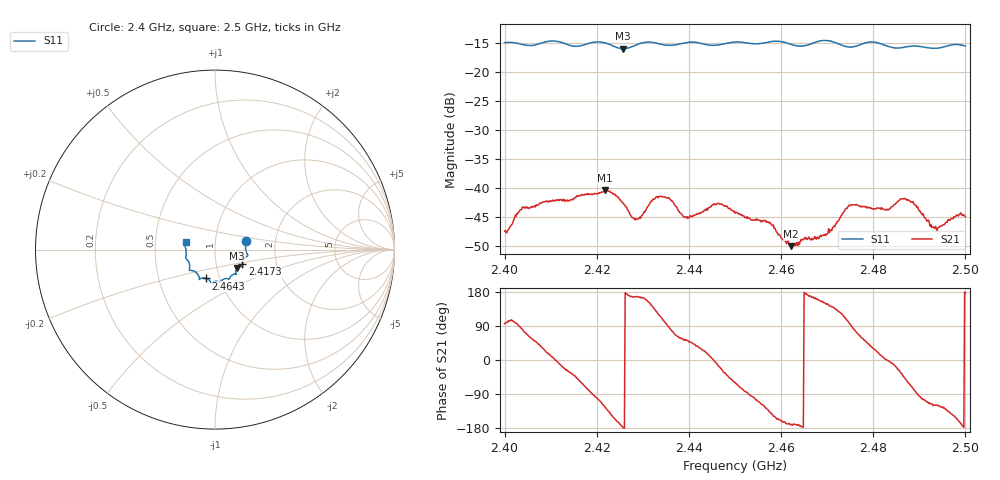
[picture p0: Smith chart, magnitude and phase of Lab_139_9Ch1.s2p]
# Hz S RI R 50
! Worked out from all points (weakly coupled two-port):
!   601 points, 2.4 GHz to 2.5 GHz, reference 50 ohm
!   highest |S21| = -40.41 dB at 2.4218 GHz (marker M1); lowest = -50.0 dB at 2.4622 GHz (marker M2)
!   lowest |S11| = -15.9 dB at 2.4257 GHz (marker M3), VSWR 1.38, Z = 62.4 - j13.1 ohm
!   |S11| at or under -10 dB: start of sweep to end of sweep
!   S12 and S22 are empty: the file has one direction only
!   S11 on the Smith chart (normalised r, x): 2.4 GHz: 1.41, +0.15; 2.4173 GHz: 1.34, -0.23; 2.4643 GHz: 0.86, -0.28; 2.5 GHz: 0.72, +0.06
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2.4e9  0.1734 0.0498  -0.000465 0.00424  0 0  0 0
2.404e9  0.1717 0.0252  0.00136 0.00671  0 0  0 0
2.416667e9  0.1531 -0.0743  0.00435 -0.00765  0 0  0 0
2.417333e9  0.1527 -0.0818  0.00327 -0.00821  0 0  0 0
2.421833e9  0.1524 -0.0948  -0.00543 -0.00784  0 0  0 0
2.425667e9  0.1225 -0.1026  -0.00748 -0.000222  0 0  0 0
2.428667e9  0.1155 -0.129  -0.00527 0.00118  0 0  0 0
2.433333e9  0.1126 -0.1366  -0.00432 0.00705  0 0  0 0
2.436e9  0.0943 -0.1427  0.00125 0.00786  0 0  0 0
2.439333e9  0.0808 -0.1611  0.00339 0.00451  0 0  0 0
2.445833e9  0.0484 -0.1645  0.00717 -0.00085  0 0  0 0
2.45e9  0.0295 -0.1806  0.00314 -0.00518  0 0  0 0
2.457167e9  -0.0147 -0.1817  -0.00336 -0.00385  0 0  0 0
2.462167e9  -0.0306 -0.1716  -0.0031 -0.000562  0 0  0 0
2.464333e9  -0.0503 -0.1605  -0.00347 -0.000352  0 0  0 0
2.466667e9  -0.0764 -0.1597  -0.00355 0.000954  0 0  0 0
2.4705e9  -0.0874 -0.1651  -0.00328 0.00252  0 0  0 0
2.475e9  -0.1066 -0.1261  -0.000428 0.00703  0 0  0 0
2.483333e9  -0.1409 -0.0896  0.00653 -0.000296  0 0  0 0
2.487333e9  -0.1577 -0.0542  0.00436 -0.0065  0 0  0 0
2.4935e9  -0.1608 -0.0076  -0.0023 -0.00406  0 0  0 0
2.5e9  -0.1635 0.042  -0.00565 0.000276  0 0  0 0
